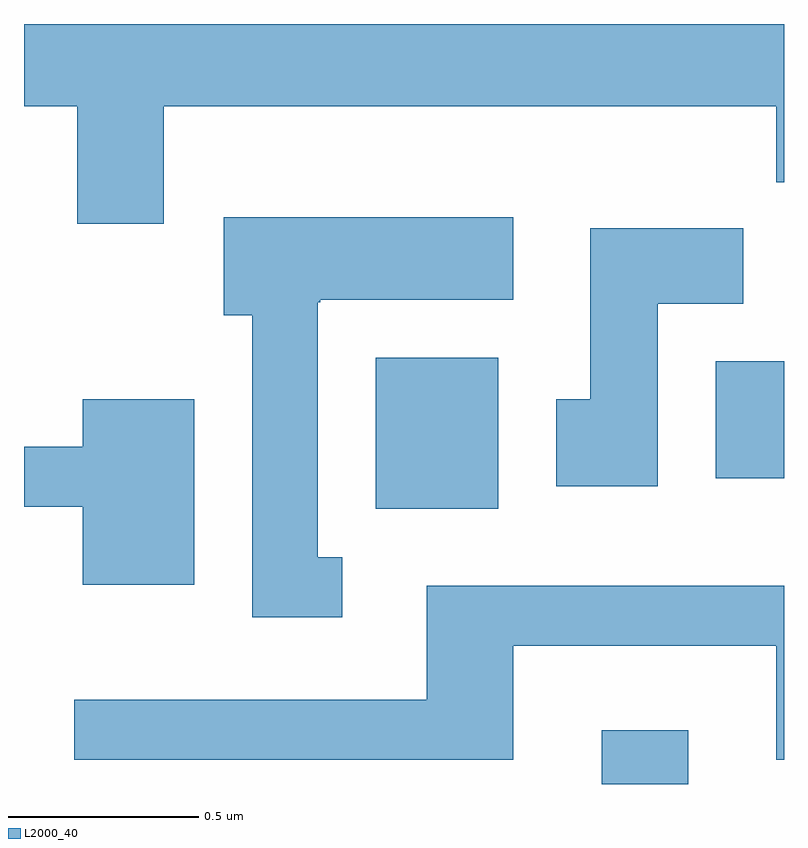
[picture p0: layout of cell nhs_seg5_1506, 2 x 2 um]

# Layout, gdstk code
import gdstk
lib = gdstk.Library(unit=1e-6, precision=1e-09)
def R(c, l, rs):  # rectangles x0, y0, x1, y1
    for r in rs: c.add(gdstk.rectangle(r[:2], r[2:], *l))
def P(c, l, *ps):  # polygons
    for p in ps: c.add(gdstk.Polygon(p, *l))
L2000_40 = (2000, 40)

nhs_seg5_1506 = lib.new_cell('nhs_seg5_1506')
R(nhs_seg5_1506, L2000_40, [(198.131,1395.072,198.359,1395.214), (197.536,1395.796,197.859,1396.194), (198.431,1395.876,198.611,1396.184)])
P(nhs_seg5_1506, L2000_40, [(196.979,1396.856),(198.591,1396.856),(198.591,1396.656),(198.611,1396.656),(198.611,1397.072),(196.611,1397.072),(196.611,1396.856),(196.751,1396.856),(196.751,1396.546),(196.979,1396.546)],
  [(197.448,1395.669),(197.384,1395.669),(197.384,1396.34),(197.39,1396.34),(197.39,1396.346),(197.899,1396.346),(197.899,1396.564),(197.136,1396.564),(197.136,1396.306),(197.211,1396.306),(197.211,1395.511),(197.448,1395.511)],
  [(198.279,1396.336),(198.504,1396.336),(198.504,1396.534),(198.101,1396.534),(198.101,1396.084),(198.011,1396.084),(198.011,1395.856),(198.279,1395.856)],
  [(197.059,1396.084),(196.766,1396.084),(196.766,1395.959),(196.611,1395.959),(196.611,1395.801),(196.766,1395.801),(196.766,1395.596),(197.059,1395.596)],
  [(197.899,1395.436),(198.591,1395.436),(198.591,1395.136),(198.611,1395.136),(198.611,1395.594),(197.671,1395.594),(197.671,1395.294),(196.743,1395.294),(196.743,1395.136),(197.899,1395.136)])

lib.write_gds('nhs_seg5_1506.gds')
